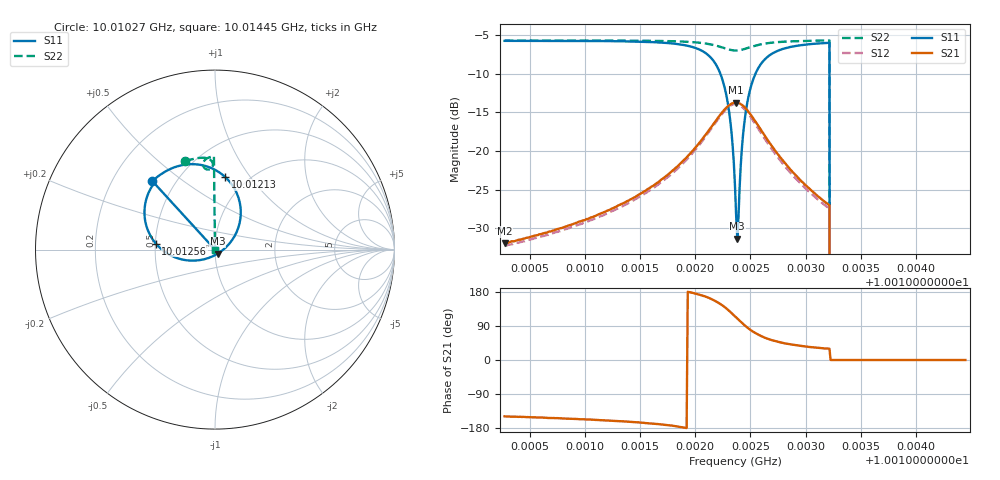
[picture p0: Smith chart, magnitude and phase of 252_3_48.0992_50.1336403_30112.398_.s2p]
#  HZ  S  RI  R  50.00
! Rohde & Schwarz Vector Network Analyzer
! Rohde-Schwarz,ZNB20-2Port,1311601062101988,3.16
! Created: UTC 12/23/2023, 3:59:52 AM
! freq[Hz]  re:S11  im:S11  re:S21  im:S21  re:S12  im:S12  re:S22  im:S22
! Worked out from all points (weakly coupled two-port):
!   401 points, 10.01027 GHz to 10.01445 GHz, reference 50 ohm
!   highest |S21| = -13.72 dB at 10.01237 GHz (marker M1); lowest = -31.9 dB at 10.01027 GHz (marker M2)
!   lowest |S11| = -31.3 dB at 10.01238 GHz (marker M3), VSWR 1.06, Z = 51.4 - j2.38 ohm
!   |S11| at or under -10 dB: 10.01223 GHz to 10.01254 GHz (317.3 kHz wide, 0.00317 % of centre); 10.01322 GHz to end of sweep
!   |S22| runs from - to -5.7 dB; largest |S21 - S12| = 0.0099
!   S11 on the Smith chart (normalised r, x): 10.01027 GHz: 0.37, +0.39; 10.01213 GHz: 0.79, +0.77; 10.01256 GHz: 0.50, +0.04; 10.01445 GHz: 1.00, +0.00
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1.0010273e10  -0.3508 0.3798  -0.0216 -0.0132  -0.02 -0.0136  -0.1653 0.4922
1.0010972e10  -0.2946 0.4241  -0.0323 -0.0142  -0.0302 -0.015  -0.119 0.5058
1.0011671e10  -0.1834 0.4705  -0.0622 -0.0116  -0.0596 -0.0143  -0.0655 0.5122
1.0011963e10  -0.0674 0.4694  -0.0979 0.00334  -0.0948 -0.0017  -0.0364 0.5065
1.001213e10  0.0554 0.4058  -0.1323 0.0404  -0.1306 0.0323  -0.0172 0.4914
1.0012224e10  0.1295 0.2933  -0.1453 0.0898  -0.1467 0.0803  -0.0117 0.4734
1.0012287e10  0.1409 0.1686  -0.1357 0.1364  -0.1389 0.1279  -0.0162 0.458
1.0012329e10  0.1085 0.0738  -0.113 0.1683  -0.1178 0.1599  -0.025 0.4495
1.001236e10  0.0582 0.0103  -0.0877 0.1862  -0.0925 0.1789  -0.0341 0.4463
1.001237e10  0.0373 -0.00721  -0.0781 0.1907  -0.0829 0.1836  -0.0374 0.4459
1.0012381e10  0.014 -0.0232  -0.0681 0.194  -0.0728 0.1871  -0.0409 0.4459
1.0012391e10  -0.00939 -0.0357  -0.0584 0.1962  -0.0633 0.1896  -0.0438 0.4464
1.0012423e10  -0.0862 -0.0588  -0.0279 0.197  -0.0328 0.1907  -0.0528 0.4499
1.0012454e10  -0.1613 -0.0592  0.00043 0.19  -0.00474 0.1838  -0.0597 0.4558
1.0012496e10  -0.2458 -0.0328  0.0297 0.1719  0.0233 0.1667  -0.065 0.4656
1.0012558e10  -0.3298 0.0335  0.0541 0.1402  0.0481 0.1357  -0.066 0.4799
1.0012725e10  -0.3927 0.1951  0.0644 0.0768  0.0587 0.0754  -0.0517 0.5032
1.0013059e10  -0.3594 0.3386  0.0458 0.0304  0.0421 0.031  -0.0191 0.5177
1.0013195e10  -0.3416 0.3671  0.0396 0.023  0.0365 0.0235  -0.00762 0.5198
1.0013247e10  0 0  0 0  0 0  0 0
1.0013758e10  0 0  0 0  0 0  0 0
1.0014447e10  0 0  0 0  0 0  0 0
